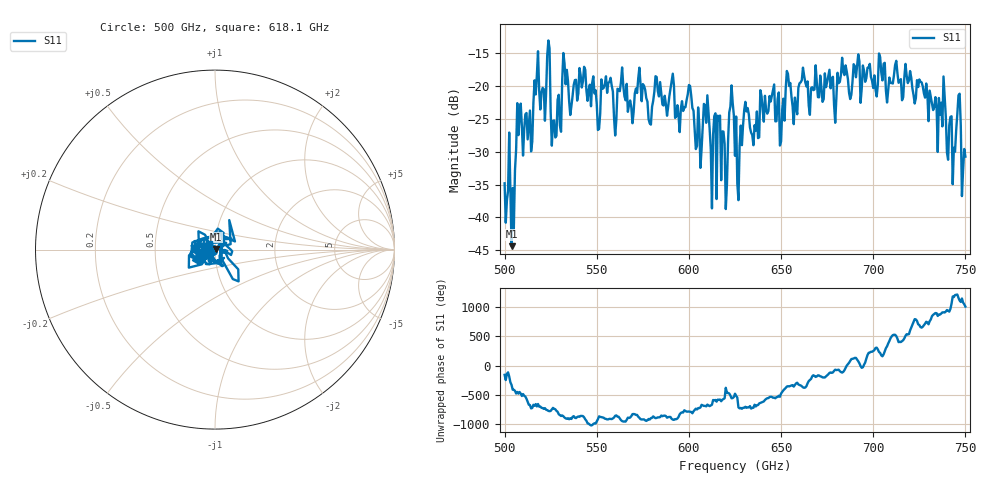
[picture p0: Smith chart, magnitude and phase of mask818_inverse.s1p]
!Created with skrf (http://scikit-rf.org).
# GHz S MA R 50.0
!freq magS11 angS11
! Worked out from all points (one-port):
!   401 points, 500 GHz to 750 GHz, reference 50 ohm
!   lowest |S11| = -44.4 dB at 503.8 GHz (marker M1), VSWR 1.01, Z = 50.5 + j0.327 ohm
!   |S11| at or under -10 dB: start of sweep to end of sweep
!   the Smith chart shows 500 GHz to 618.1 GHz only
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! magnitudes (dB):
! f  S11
! 500 GHz  -34.8
! 503.8 GHz  -44.4
! 507.5 GHz  -27.5
! 513.8 GHz  -23.8
! 517.5 GHz  -18.4
! 523.8 GHz  -13.1
! 526.9 GHz  -25.3
! 531.2 GHz  -19.1
! 542.5 GHz  -19.3
! 550.6 GHz  -26.7
! 562.5 GHz  -20.8
! 578.8 GHz  -25.7
! 590.6 GHz  -19.4
! 593.8 GHz  -23.0
! 600 GHz  -19.9
! 605.6 GHz  -25.9
! 609.4 GHz  -25.6
! 620 GHz  -38.7
! 623.1 GHz  -20.0
! 625 GHz  -30.6
! 627.5 GHz  -29.1
! 631.2 GHz  -23.9
! 656.2 GHz  -23.1
! 687.5 GHz  -22.0
! 718.8 GHz  -19.6
! 743.8 GHz  -29.4
! 746.2 GHz  -21.5
! 750 GHz  -30.8
